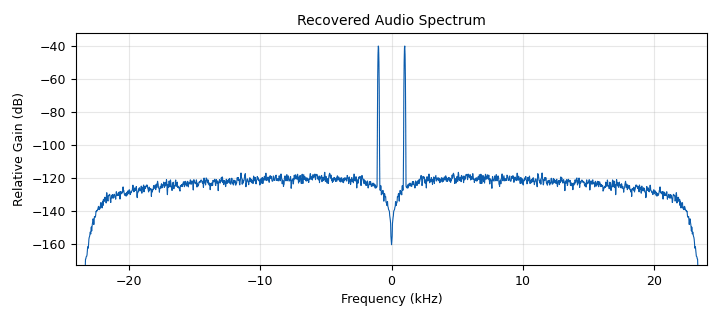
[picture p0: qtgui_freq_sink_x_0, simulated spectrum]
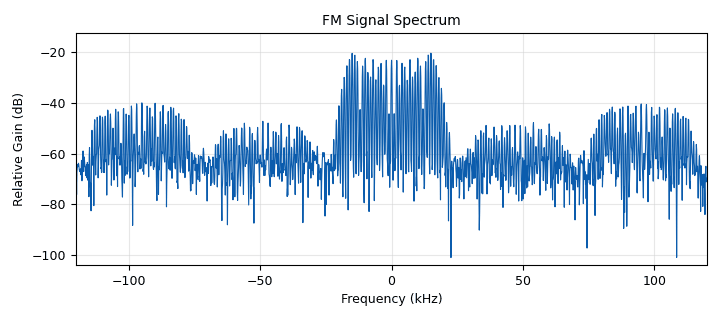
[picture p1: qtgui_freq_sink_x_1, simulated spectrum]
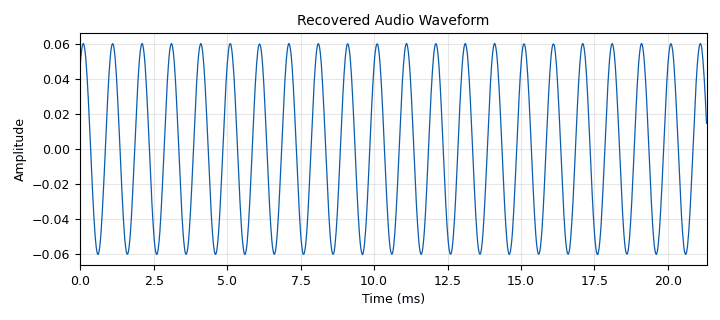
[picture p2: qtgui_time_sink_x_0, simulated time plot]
options:
  parameters:
    author: Arael Frediani
    generate_options: qt_gui
    id: fm_simulation
    output_language: python
    title: fm_simulation
  states: {}

blocks:
- name: audio_rate
  id: variable
  parameters:
    value: '48000'
  states: {}
- name: noise_voltage
  id: variable
  parameters:
    value: '0.05'
  states: {}
- name: quad_rate
  id: variable
  parameters:
    value: '240000'
  states: {}
- name: tone_freq
  id: variable
  parameters:
    value: '1000'
  states: {}
- name: analog_sig_source_x_0
  id: analog_sig_source_x
  parameters:
    amp: '0.2'
    freq: tone_freq
    offset: '0'
    phase: '0'
    samp_rate: audio_rate
    type: float
    waveform: analog.GR_COS_WAVE
  states: {}
- name: analog_wfm_rcv_0
  id: analog_wfm_rcv
  parameters:
    audio_decimation: '5'
    quad_rate: quad_rate
  states: {}
- name: analog_wfm_tx_0
  id: analog_wfm_tx
  parameters:
    audio_rate: audio_rate
    fh: '-1.0'
    max_dev: 75e3
    quad_rate: quad_rate
    tau: '75e-6'
  states: {}
- name: audio_sink_0
  id: audio_sink
  parameters:
    ok_to_block: 'False'
    samp_rate: audio_rate
  states: {}
- name: blocks_multiply_const_vxx_0
  id: blocks_multiply_const_vxx
  parameters:
    const: '0.3'
    type: float
  states: {}
- name: blocks_throttle2_0
  id: blocks_throttle2
  parameters:
    samples_per_second: quad_rate
    type: complex
  states: {}
- name: channels_channel_model_0
  id: channels_channel_model
  parameters:
    epsilon: '1.0'
    freq_offset: '0.0'
    noise_voltage: noise_voltage
    seed: '0'
    taps: '1.0'
  states: {}
- name: qtgui_freq_sink_x_0
  id: qtgui_freq_sink_x
  parameters:
    autoscale: 'True'
    average: '0.1'
    bw: audio_rate
    fc: '0'
    fftsize: '2048'
    name: Recovered Audio Spectrum
    type: float
  states: {}
- name: qtgui_freq_sink_x_1
  id: qtgui_freq_sink_x
  parameters:
    autoscale: 'True'
    bw: quad_rate
    fc: '0'
    fftsize: '2048'
    name: FM Signal Spectrum
    type: complex
  states: {}
- name: qtgui_time_sink_x_0
  id: qtgui_time_sink_x
  parameters:
    autoscale: 'True'
    name: Recovered Audio Waveform
    size: '1024'
    srate: audio_rate
    type: float
  states: {}

connections:
- [analog_sig_source_x_0, '0', analog_wfm_tx_0, '0']
- [analog_wfm_rcv_0, '0', blocks_multiply_const_vxx_0, '0']
- [analog_wfm_tx_0, '0', blocks_throttle2_0, '0']
- [blocks_multiply_const_vxx_0, '0', audio_sink_0, '0']
- [blocks_multiply_const_vxx_0, '0', qtgui_freq_sink_x_0, '0']
- [blocks_multiply_const_vxx_0, '0', qtgui_time_sink_x_0, '0']
- [blocks_throttle2_0, '0', channels_channel_model_0, '0']
- [channels_channel_model_0, '0', analog_wfm_rcv_0, '0']
- [channels_channel_model_0, '0', qtgui_freq_sink_x_1, '0']

metadata:
  file_format: 1
  grc_version: 3.10.12.0
